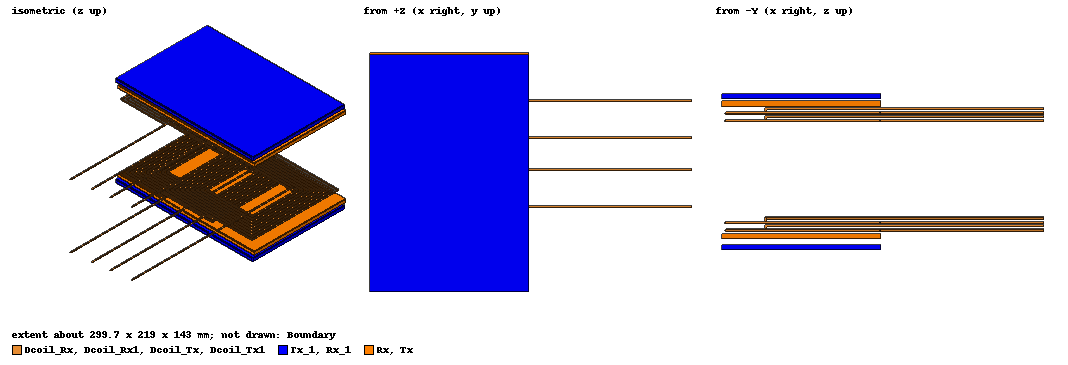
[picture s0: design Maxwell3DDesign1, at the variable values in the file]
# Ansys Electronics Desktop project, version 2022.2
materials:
  vacuum: permittivity=1
  copper litz: permeability=0.999991 conductivity=58000000 stacking_type="Litz Wire" wire_type=Round strand_number=1 wire_diameter=2mm
  air: permittivity=1.0006 permeability=1.0000004
  ferrite: permittivity=12 permeability=1000 conductivity=0.01
  aluminum: permeability=1.000021 conductivity=38000000

design Maxwell3DDesign1 (Maxwell 3D, EddyCurrent, model units mm)
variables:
  airgap = 100mm
  misal = 0mm
  i = 50A
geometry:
  Dcoil_Tx [copper litz] = polyline(z=0mm, xy in mm: (140, 60) (140, 0) (0, 0) (0, 140) (136, 140) (136, 4) (4, 4) (4, 136) (132, 136) (132, 8) (8, 8) (8, 132) (128, 132) (128, 12) (12, 12) (12, 128) (124, 128) (124, 16) (16, 16) (16, 124) (120, 124) (120, 20) (20, 20) (20, 120) (116, 120) (116, 24) (24, 24) (24, 116) (112, 116) (112, 28) (28, 28) (28, 112) (108, 112) (108, 32) (32, 32) (32, 108) (104, 108) (104, 36) (36, 36) (36, 104), section circle width=2mm)
  Polyline2 = polyline(y=104mm, xz in mm: (36, 0) (36, 4) (1000, 4), section circle width=2mm)
  Polyline3 = polyline(z=0mm, xy in mm: (140, 60) (140, 70) (1000, 70), section circle width=2mm)
  Dcoil_Tx.unite(Polyline2, Polyline3)
  Box2 = box(corner=(300mm, -50mm, 50mm), size=(800mm, 200mm, -200mm))
  Dcoil_Tx.subtract(Box2)
  Dcoil_Tx1 [copper litz] = polyline(z=0mm, xy in mm: (140, 60) (140, 0) (0, 0) (0, 140) (136, 140) (136, 4) (4, 4) (4, 136) (132, 136) (132, 8) (8, 8) (8, 132) (128, 132) (128, 12) (12, 12) (12, 128) (124, 128) (124, 16) (16, 16) (16, 124) (120, 124) (120, 20) (20, 20) (20, 120) (116, 120) (116, 24) (24, 24) (24, 116) (112, 116) (112, 28) (28, 28) (28, 112) (108, 112) (108, 32) (32, 32) (32, 108) (104, 108) (104, 36) (36, 36) (36, 104), section circle width=2mm)
  Polyline4 = polyline(y=104mm, xz in mm: (36, 0) (36, 4) (1000, 4), section circle width=2mm)
  Polyline5 = polyline(z=0mm, xy in mm: (140, 60) (140, 70) (1000, 70), section circle width=2mm)
  Dcoil_Tx1.unite(Polyline4, Polyline5)
  Box3 = box(corner=(300mm, -50mm, 50mm), size=(800mm, 200mm, -200mm))
  Dcoil_Tx1.subtract(Box3)
  Dcoil_Tx1.move(0mm, 148mm, 0mm)
  Boundary [air] = box(corner=(-10mm, -60mm, 130mm), size=(300mm, 580mm, -155mm))
  Box5 = box(corner=(290mm, -60mm, 40mm), size=(230mm, 380mm, -140mm))
  Dcoil_Tx.subtract(Box5)
  Dcoil_Rx [copper litz] = polyline(z=0mm, xy in mm: (140, 60) (140, 0) (0, 0) (0, 140) (136, 140) (136, 4) (4, 4) (4, 136) (132, 136) (132, 8) (8, 8) (8, 132) (128, 132) (128, 12) (12, 12) (12, 128) (124, 128) (124, 16) (16, 16) (16, 124) (120, 124) (120, 20) (20, 20) (20, 120) (116, 120) (116, 24) (24, 24) (24, 116) (112, 116) (112, 28) (28, 28) (28, 112) (108, 112) (108, 32) (32, 32) (32, 108) (104, 108) (104, 36) (36, 36) (36, 104), section circle width=2mm)
  Polyline6 = polyline(y=104mm, xz in mm: (36, 0) (36, 4) (1000, 4), section circle width=2mm)
  Polyline7 = polyline(z=0mm, xy in mm: (140, 60) (140, 70) (1000, 70), section circle width=2mm)
  Dcoil_Rx.unite(Polyline6, Polyline7)
  Box6 = box(corner=(300mm, -50mm, 50mm), size=(800mm, 200mm, -200mm))
  Dcoil_Rx.subtract(Box6)
  Box8 = box(corner=(290mm, -60mm, 40mm), size=(230mm, 380mm, -140mm))
  Dcoil_Rx.subtract(Box8)
  Dcoil_Rx.move(0mm, 0mm, airgap)
  Dcoil_Rx.move(0mm, misal, 0mm)
  Dcoil_Rx1 [copper litz] = polyline(z=0mm, xy in mm: (140, 60) (140, 0) (0, 0) (0, 140) (136, 140) (136, 4) (4, 4) (4, 136) (132, 136) (132, 8) (8, 8) (8, 132) (128, 132) (128, 12) (12, 12) (12, 128) (124, 128) (124, 16) (16, 16) (16, 124) (120, 124) (120, 20) (20, 20) (20, 120) (116, 120) (116, 24) (24, 24) (24, 116) (112, 116) (112, 28) (28, 28) (28, 112) (108, 112) (108, 32) (32, 32) (32, 108) (104, 108) (104, 36) (36, 36) (36, 104), section circle width=2mm)
  Polyline8 = polyline(y=104mm, xz in mm: (36, 0) (36, 4) (1000, 4), section circle width=2mm)
  Polyline9 = polyline(z=0mm, xy in mm: (140, 60) (140, 70) (1000, 70), section circle width=2mm)
  Dcoil_Rx1.unite(Polyline8, Polyline9)
  Box9 = box(corner=(300mm, -50mm, 50mm), size=(800mm, 200mm, -200mm))
  Dcoil_Rx1.subtract(Box9)
  Dcoil_Rx1.move(0mm, 148mm, 100mm)
  Box10 = box(corner=(290mm, -60mm, 120mm), size=(290mm, 580mm, -140mm))
  Dcoil_Tx1.subtract(Box10)
  Box11 = box(corner=(290mm, -60mm, 120mm), size=(260mm, 580mm, -140mm))
  Dcoil_Rx1.subtract(Box11)
  Tx [ferrite] = box(corner=(-4mm, -4mm, -8mm), size=(145mm, 215mm, 5mm))
  Rx [ferrite] = box(corner=(-4mm, -4mm, -2mm), size=(145mm, 215mm, 5mm))
  Rx.move(0mm, 0mm, 115mm)
  Tx_1 [aluminum] = box(corner=(-4mm, -8mm, -18mm), size=(145mm, 217mm, 5mm))
  Rx_1 [aluminum] = box(corner=(-4mm, -8mm, -12mm), size=(145mm, 217mm, 5mm))
  Rx_1.move(0mm, 0mm, 132mm)
  [Rx_1, Rx, Dcoil_Rx1].move(0mm, misal, 0mm)
  [Dcoil_Rx1, Dcoil_Tx1].move(0mm, -85mm, 7mm)
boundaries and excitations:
  Tx_in1: Current Faces=Dcoil_Tx.face(at (290, 70, 0)) Phase=0deg Current=i IsSolid=false Point_out_of_terminal=false
  Tx_out1: Current Faces=Dcoil_Tx.face(at (290, 104, 4)) Phase=0deg Current=i IsSolid=false Point_out_of_terminal=true
  Rx_in1: Current Faces=Dcoil_Rx.face(#2166) Phase=0deg Current=0mA IsSolid=true Point_out_of_terminal=false
  Rx_out1: Current Faces=Dcoil_Rx.face(#2165) Phase=0deg Current=0mA IsSolid=true Point_out_of_terminal=true
  Rx_in2: Current Faces=Dcoil_Rx1.face(#2510) Phase=0deg Current=0mA IsSolid=true Point_out_of_terminal=false
  Rx_out2: Current Faces=Dcoil_Rx1.face(#2509) Phase=0deg Current=0mA IsSolid=true Point_out_of_terminal=true
  Tx_in2: Current Faces=Dcoil_Tx1.face(#2475) Phase=0deg Current=i IsSolid=false Point_out_of_terminal=false
  Tx_out2: Current Faces=Dcoil_Tx1.face(#2474) Phase=0deg Current=i IsSolid=false Point_out_of_terminal=true
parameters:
  Matrix1: Matrix Rx_in1, Tx_in1, Rx_in2, Tx_in2:
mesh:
  Length1: LengthBased RefineInside Objects=Boundary MaxLength=116mm
  Length2: LengthBased Objects=[Dcoil_Rx, Dcoil_Rx1, Dcoil_Tx, Dcoil_Tx1] MaxLength=60.2mm
  initial mesh: GlobalSurfApproximation{CurvedSurfaceApproxChoice=UseSlider SliderMeshSettings=1} GlobalCurvilinear{Apply}
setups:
  Setup1: EddyCurrent MaximumPasses=10 MinimumPasses=2 MinimumConvergedPasses=1 PercentRefinement=30 PercentError=20 RelativeResidual=1e-05 NonLinearResidual=0.0001 Frequency=85kHz SweepRanges{80kHz to 100kHz step 1kHz} SaveAllFields
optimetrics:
  ParametricSetup1: Parametric Sim._Setups=[Setup1]
    sweep misal: LIN 0mm 200mm 50mm
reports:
  Coupling Coeff Plot 1: Matrix1.CplCoef(Tx_in1,Rx_in1), Matrix1.CplCoef(Tx_in2,Rx_in1), Matrix1.CplCoef(Rx_in1,Tx_in1), Matrix1.CplCoef(Rx_in2,Tx_in1) vs misal on Setup1 : LastAdaptive [Freq=all]
  Coupling Coeff Table 1: Matrix1.CplCoef(Tx_in1,Rx_in1), Matrix1.CplCoef(Tx_in2,Rx_in1), Matrix1.CplCoef(Rx_in1,Tx_in1), Matrix1.CplCoef(Rx_in2,Tx_in1) vs misal on Setup1 : LastAdaptive [Freq=all]
  L Table 1: Matrix1.L(Tx_in1,Rx_in1), Matrix1.L(Tx_in2,Rx_in1), Matrix1.L(Rx_in1,Tx_in1), Matrix1.L(Rx_in2,Tx_in1) vs misal on Setup1 : LastAdaptive [Freq=all]
  L Plot 1: Matrix1.L(Tx_in1,Rx_in1), Matrix1.L(Tx_in2,Rx_in1), Matrix1.L(Rx_in1,Tx_in1), Matrix1.L(Rx_in2,Tx_in1) vs misal on Setup1 : LastAdaptive [Freq=all]

design Simplorer1 (Twin Builder)
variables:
  f = 85kHz
  R_load = 10ohm
  Cp = 194nF
  Cs = 990nF
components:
  E_source = E(Type=ESINE AMPL=311.12698V FREQ=f PERIO=0 TPERIO=Tend+1)
  Cp = C(C=Cp)
  Cs = C(C=Cs)
  I_in = AM()
  V_in = VM()
  V_out = VM()
  I_out = AM()
  R_load = R(R=R_load)
  gnd1 = gnd()
  gnd2 = gnd()
  Mx_SS1 = MaxwellData8(ComponentDataType=MaxwellData name=MaxwellData8 filename="$PROJECTDIR\Bipolar with ferrite.aedt" numberofports=8 CouplingDesignName=Maxwell3DDesign1 CouplingSolutionName="Setup1 : LastAdaptive" CouplingMatrixName=Matrix1 CouplingType=SparamMaxwell3DLink MaxNumPoles=10000 ErrTol=0.005 SSZref=50ohm Mw2DDepth=1meter MwScale=1 RefPinStyle=3 MxModelType=5 Properties{paramProp(airgap, 100mm) paramProp(i, 50A) paramProp(misal, 0mm)} PortInfo{OnePortInfo(Rx_in1_src, -1, Rx_in1:src) OnePortInfo(Rx_in2_src, -1, Rx_in2:src) OnePortInfo(Tx_in1_src, -1, Tx_in1:src) OnePortInfo(Tx_in2_src, -1, Tx_in2:src) OnePortInfo(Rx_in1_snk, -1, Rx_in1:snk) OnePortInfo(Rx_in2_snk, -1, Rx_in2:snk) OnePortInfo(Tx_in1_snk, -1, Tx_in1:snk) OnePortInfo(Tx_in2_snk, -1, Tx_in2:snk)} misal=0mm)
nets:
  net_1: E_source.1, I_in.1
  net_10: gnd1.0, V_out.1, R_load.1, Mx_SS1.4, Mx_SS1.5
  net_13: E_source.0, gnd2.0, V_in.1, Mx_SS1.6, Mx_SS1.7
  net_2: Cp.1, I_in.0
  net_5: Cp.0, V_in.0, Mx_SS1.2, Mx_SS1.3
  net_7: Cs.0, V_out.0, Mx_SS1.0, Mx_SS1.1
  net_8: Cs.1, I_out.1
  net_9: I_out.0, R_load.0
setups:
  AC: LinearFrequencyData(1, 80kHz, 100kHz, 1kHz)
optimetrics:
  ParametricSetup1: Parametric SaveSolutions Sim._Setups=[AC]
    sweep Mx_SS1.misal: LIN 0mm 200mm 50mm
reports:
  XY Plot 1: (mag(V_out.V)*mag(I_out.I))/(mag(V_in.V)*mag(I_in.I)) vs Mx_SS1.misal on AC : AC [f=all R_load=all Cp=all Cs=all Freq=all]
  Data Table 1: (mag(V_out.V)*mag(I_out.I))/(mag(V_in.V)*mag(I_in.I)) vs Mx_SS1.misal on AC : AC [f=all R_load=all Cp=all Cs=all Freq=all]
